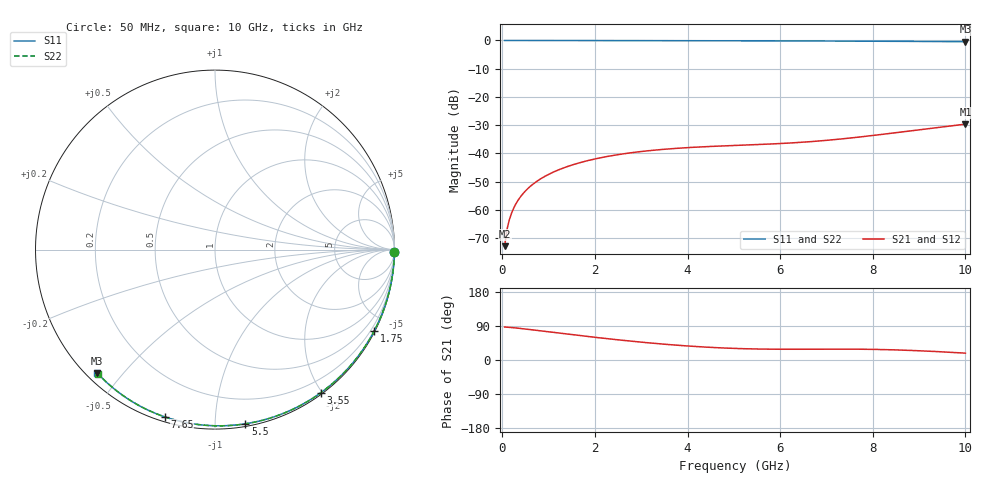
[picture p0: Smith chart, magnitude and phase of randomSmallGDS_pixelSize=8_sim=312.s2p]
! freq	dB(S11)	phase(S11)	dB(S12)	phase(S12)
!  dB(S21)	phase(S21)	dB(S22)	phase(S22)
!S-par simulation data
#  GHz  S  DB  R 50
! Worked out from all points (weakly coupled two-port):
!   200 points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, 50 MHz to 10 GHz, reference 50 ohm
!   highest |S21| = -29.65 dB at 10 GHz (marker M1); lowest = -72.9 dB at 50 MHz (marker M2)
!   lowest |S11| = -0.4 dB at 10 GHz (marker M3), VSWR 39.27, Z = 1.51 - j21.4 ohm
!   |S11| at or under -10 dB: nowhere
!   |S22| runs from -0.4 to 0.0 dB; largest |S21 - S12| = 0
!   S11 on the Smith chart (normalised r, x): 50 MHz: open; 1.75 GHz: 0.04, -4.15; 3.55 GHz: 0.02, -1.98; 5.5 GHz: 0.02, -1.19; 7.65 GHz: 0.02, -0.74; 10 GHz: 0.03, -0.43
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0.05  -0.00 -0.8  -72.88 87.1  -72.88 87.1  -0.00 -0.8
0.1  -0.00 -1.6  -67.07 86.5  -67.07 86.5  -0.00 -1.6
0.15  -0.00 -2.4  -63.64 86.1  -63.64 86.1  -0.00 -2.4
0.2  -0.00 -3.2  -61.18 85.7  -61.18 85.7  -0.00 -3.1
0.25  -0.00 -3.9  -59.27 85.1  -59.27 85.1  -0.00 -3.9
0.35  -0.00 -5.5  -56.38 83.8  -56.38 83.8  -0.00 -5.5
0.5  -0.01 -7.9  -53.31 81.7  -53.31 81.7  -0.01 -7.8
0.7  -0.01 -11.0  -50.44 78.8  -50.44 78.8  -0.01 -10.9
1  -0.02 -15.6  -47.44 74.3  -47.44 74.3  -0.02 -15.5
1.35  -0.03 -21.0  -44.99 69.2  -44.99 69.2  -0.03 -20.9
1.75  -0.03 -27.1  -42.97 63.4  -42.97 63.4  -0.03 -27.0
2.5  -0.05 -38.3  -40.45 53.2  -40.45 53.2  -0.05 -38.2
3.4  -0.07 -51.4  -38.69 42.7  -38.69 42.7  -0.07 -51.3
3.55  -0.07 -53.6  -38.48 41.1  -38.48 41.1  -0.07 -53.4
4.3  -0.09 -64.1  -37.70 34.7  -37.70 34.7  -0.09 -63.8
5.05  -0.11 -74.2  -37.18 30.4  -37.18 30.4  -0.11 -74.0
5.5  -0.13 -80.1  -36.89 29.0  -36.89 29.0  -0.13 -79.9
6.7  -0.18 -95.3  -35.80 28.5  -35.80 28.5  -0.18 -95.0
7.65  -0.24 -106.7  -34.32 28.6  -34.32 28.6  -0.24 -106.4
8.35  -0.29 -114.9  -32.98 27.2  -32.98 27.2  -0.29 -114.6
9.2  -0.36 -124.7  -31.25 23.3  -31.25 23.3  -0.36 -124.3
10  -0.44 -133.7  -29.65 18.1  -29.65 18.1  -0.44 -133.3
